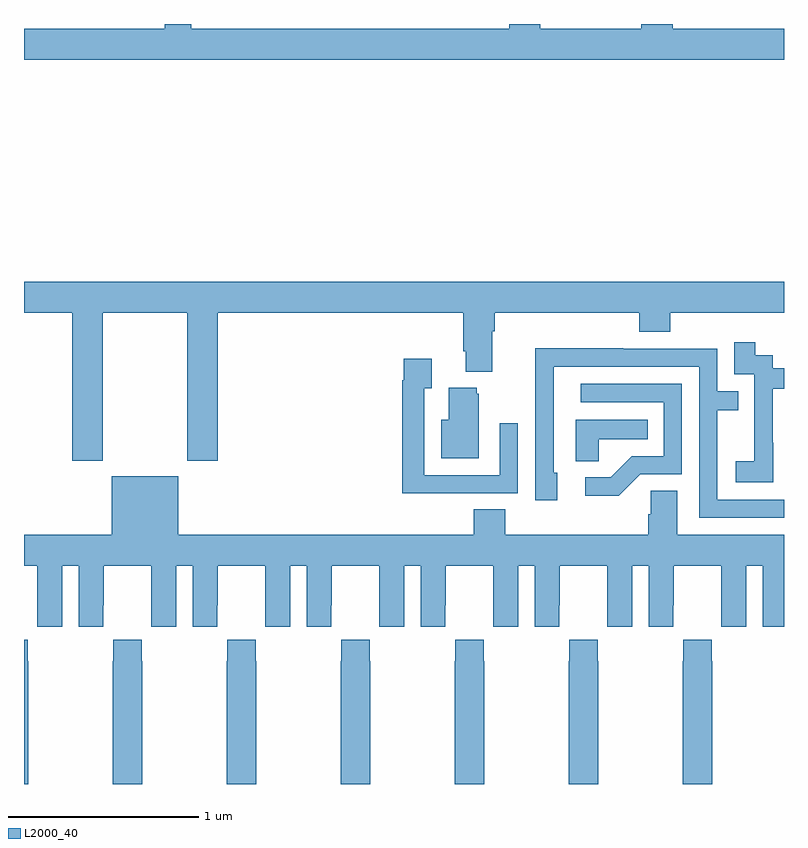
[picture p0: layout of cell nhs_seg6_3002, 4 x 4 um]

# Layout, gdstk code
import gdstk
lib = gdstk.Library(unit=1e-6, precision=1e-09)
def P(c, l, *ps):  # polygons
    for p in ps: c.add(gdstk.Polygon(p, *l))
L2000_40 = (2000, 40)

nhs_seg6_3002 = lib.new_cell('nhs_seg6_3002')
P(nhs_seg6_3002, L2000_40, [(291,971.476),(290.414,971.476),(290.414,971.5),(290.249,971.5),(290.249,971.476),(289.718,971.476),(289.718,971.5),(289.553,971.5),(289.553,971.476),(287.88,971.476),(287.88,971.5),(287.741,971.5),(287.741,971.476),(287,971.476),(287,971.312),(291,971.312)],
  [(287.415,969.98),(287.86,969.98),(287.86,969.201),(288.02,969.201),(288.02,969.98),(289.313,969.98),(289.313,969.778),(289.325,969.778),(289.325,969.671),(289.465,969.671),(289.465,969.884),(289.478,969.884),(289.478,969.98),(290.237,969.98),(290.237,969.881),(290.402,969.881),(290.402,969.98),(291,969.98),(291,970.144),(287,970.144),(287,969.98),(287.255,969.98),(287.255,969.201),(287.415,969.201)],
  [(290.943,969.295),(290.942,969.295),(290.942,969.579),(291,969.579),(291,969.687),(290.94,969.687),(290.94,969.756),(290.848,969.756),(290.848,969.826),(290.739,969.826),(290.739,969.657),(290.844,969.657),(290.844,969.428),(290.843,969.428),(290.843,969.199),(290.745,969.199),(290.745,969.089),(290.943,969.089)],
  [(291,968.997),(290.649,968.997),(290.649,969.466),(290.759,969.466),(290.759,969.567),(290.649,969.567),(290.649,969.792),(290.153,969.792),(290.153,969.794),(289.69,969.794),(289.69,969.487),(289.692,969.487),(289.692,968.994),(289.807,968.994),(289.807,969.138),(289.788,969.138),(289.788,969.696),(290.553,969.696),(290.553,968.901),(291,968.901)],
  [(289.283,969.03),(289.599,969.03),(289.599,969.4),(289.503,969.4),(289.503,969.126),(289.107,969.126),(289.107,969.583),(289.147,969.583),(289.147,969.739),(288.999,969.739),(288.999,969.626),(288.991,969.626),(288.991,969.029),(289.283,969.029)],
  [(290.244,969.129),(290.463,969.129),(290.463,969.606),(289.929,969.606),(289.929,969.51),(290.367,969.51),(290.367,969.225),(290.198,969.225),(290.087,969.114),(289.953,969.114),(289.953,969.017),(290.131,969.017)],
  [(289.393,969.555),(289.382,969.555),(289.382,969.586),(289.235,969.586),(289.235,969.418),(289.196,969.418),(289.196,969.215),(289.393,969.215)],
  [(290.025,969.314),(290.282,969.314),(290.282,969.418),(289.904,969.418),(289.904,969.199),(290.025,969.199)],
  [(287.2,968.648),(287.288,968.648),(287.288,968.328),(287.418,968.328),(287.418,968.44),(287.419,968.44),(287.419,968.648),(287.669,968.648),(287.669,968.44),(287.67,968.44),(287.67,968.328),(287.8,968.328),(287.8,968.648),(287.888,968.648),(287.888,968.328),(288.018,968.328),(288.018,968.44),(288.019,968.44),(288.019,968.648),(288.269,968.648),(288.269,968.44),(288.27,968.44),(288.27,968.328),(288.4,968.328),(288.4,968.648),(288.488,968.648),(288.488,968.328),(288.618,968.328),(288.618,968.44),(288.619,968.44),(288.619,968.648),(288.869,968.648),(288.869,968.44),(288.87,968.44),(288.87,968.328),(289,968.328),(289,968.648),(289.088,968.648),(289.088,968.328),(289.218,968.328),(289.218,968.44),(289.219,968.44),(289.219,968.648),(289.469,968.648),(289.469,968.44),(289.47,968.44),(289.47,968.328),(289.6,968.328),(289.6,968.648),(289.688,968.648),(289.688,968.328),(289.818,968.328),(289.818,968.44),(289.819,968.44),(289.819,968.648),(290.069,968.648),(290.069,968.44),(290.07,968.44),(290.07,968.328),(290.2,968.328),(290.2,968.648),(290.288,968.648),(290.288,968.328),(290.418,968.328),(290.418,968.44),(290.419,968.44),(290.419,968.648),(290.669,968.648),(290.669,968.44),(290.67,968.44),(290.67,968.328),(290.8,968.328),(290.8,968.648),(290.888,968.648),(290.888,968.328),(291,968.328),(291,968.812),(290.437,968.812),(290.437,969.044),(290.298,969.044),(290.298,968.921),(290.285,968.921),(290.285,968.812),(289.532,968.812),(289.532,968.945),(289.367,968.945),(289.367,968.812),(287.812,968.812),(287.812,969.121),(287.462,969.121),(287.462,968.812),(287,968.812),(287,968.648),(287.069,968.648),(287.069,968.44),(287.07,968.44),(287.07,968.328),(287.2,968.328)],
  [(288.222,968.147),(288.219,968.147),(288.219,968.26),(288.069,968.26),(288.069,968.147),(288.067,968.147),(288.067,967.5),(288.222,967.5)],
  [(287.022,968.147),(287.019,968.147),(287.019,968.26),(287,968.26),(287,967.5),(287.022,967.5)],
  [(287.622,968.147),(287.619,968.147),(287.619,968.26),(287.469,968.26),(287.469,968.147),(287.467,968.147),(287.467,967.5),(287.622,967.5)],
  [(290.622,968.147),(290.619,968.147),(290.619,968.26),(290.469,968.26),(290.469,968.147),(290.467,968.147),(290.467,967.5),(290.622,967.5)],
  [(290.022,968.147),(290.019,968.147),(290.019,968.26),(289.869,968.26),(289.869,968.147),(289.867,968.147),(289.867,967.5),(290.022,967.5)],
  [(289.422,968.147),(289.419,968.147),(289.419,968.26),(289.269,968.26),(289.269,968.147),(289.267,968.147),(289.267,967.5),(289.422,967.5)],
  [(288.822,968.147),(288.819,968.147),(288.819,968.26),(288.669,968.26),(288.669,968.147),(288.667,968.147),(288.667,967.5),(288.822,967.5)])

lib.write_gds('nhs_seg6_3002.gds')
